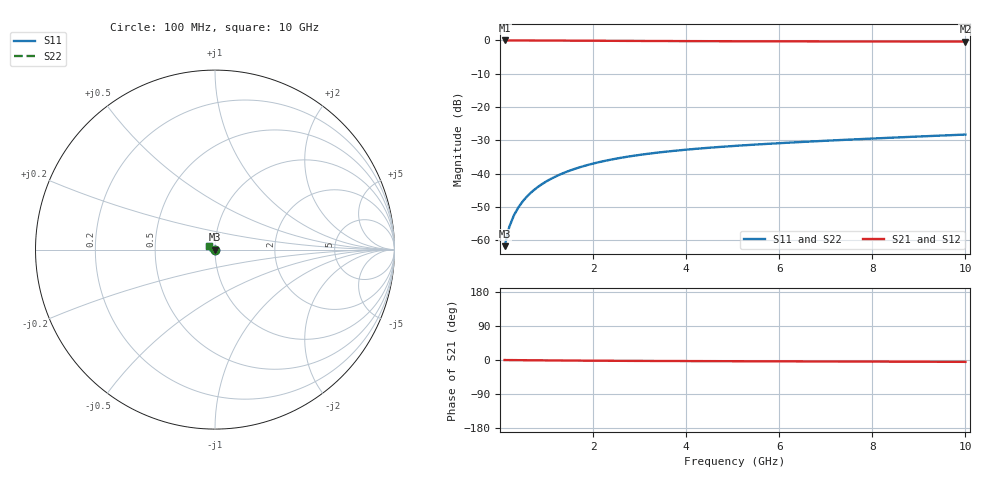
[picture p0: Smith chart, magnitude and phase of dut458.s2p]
! Touchstone file exported from HFSS 2024.1.0
!  File:  C:/UserFiles/LocalFiles/RDL_TSV_Batchsim/temp_TSV1_458_1779697283.aedt
!  Generated:  04:27:11 PM May 25, 2026
!  Design:  TSV1
!  Project:  temp_TSV1_458_1779697283
!  Setup:  Setup1
!  Solution:  Sweep
! Variables:
!  dtsv = 8.01um
!  hbump = 3um
!  htsv = 71.72um
!  lrdl = 252.1521522um
!  p = 40
!  p1 = 56.9um
!  t = 500um
!  trdl = 3um
!  wrdl = 24.89489489um
# GHz S MA R 50.000000
! Terminal data exported
! Port[1] = TSV22_T1
! Port[2] = TSV22_T2
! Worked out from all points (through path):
!   100 points, 100 MHz to 10 GHz, reference 50 ohm
!   highest |S21| = 0.00 dB at 100 MHz (marker M1); lowest = -0.3 dB at 10 GHz (marker M2)
!   lowest |S11| = -61.7 dB at 100 MHz (marker M3), VSWR 1.00, Z = 50 - j0.0801 ohm
!   |S11| at or under -10 dB: start of sweep to end of sweep
!   |S22| runs from -61.7 to -28.2 dB; largest |S21 - S12| = 2.4e-15
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0.1  0.0008206 -77.4  0.9998 -0.1  0.9998 -0.1  0.0008206 -77.4
! Gamma 0 0 0 0
! Port Impedance 50 0 50 0
0.2  0.001599 -87.0  0.9997 -0.2  0.9997 -0.2  0.001599 -87.0
0.3  0.002383 -91.7  0.9995 -0.3  0.9995 -0.3  0.002383 -91.7
0.4  0.003166 -95.3  0.9993 -0.4  0.9993 -0.4  0.003166 -95.3
0.5  0.003944 -98.2  0.999 -0.5  0.999 -0.5  0.003944 -98.2
0.6  0.004716 -101.0  0.9986 -0.6  0.9986 -0.6  0.004716 -101.0
0.7  0.005479 -103.5  0.9982 -0.7  0.9982 -0.7  0.005479 -103.5
0.8  0.006234 -106.0  0.9978 -0.8  0.9978 -0.8  0.006234 -106.0
0.9  0.006977 -108.3  0.9973 -0.9  0.9973 -0.9  0.006977 -108.3
1.1  0.008428 -112.9  0.9961 -1.1  0.9961 -1.1  0.008428 -112.9
1.4  0.0105 -119.3  0.9943 -1.4  0.9943 -1.4  0.0105 -119.3
1.6  0.0118 -123.3  0.9929 -1.5  0.9929 -1.5  0.0118 -123.3
1.8  0.01304 -127.2  0.9915 -1.7  0.9915 -1.7  0.01304 -127.2
2.1  0.01478 -132.8  0.9893 -1.9  0.9893 -1.9  0.01478 -132.8
2.5  0.01688 -139.8  0.9864 -2.1  0.9864 -2.1  0.01688 -139.8
2.9  0.01875 -146.2  0.9837 -2.4  0.9837 -2.4  0.01875 -146.2
3.4  0.02082 -153.6  0.9805 -2.6  0.9805 -2.6  0.02082 -153.6
4.2  0.02364 -163.9  0.9763 -2.9  0.9763 -2.9  0.02364 -163.9
5.1  0.02635 -173.9  0.9725 -3.2  0.9725 -3.2  0.02635 -173.9
6.7  0.03054 171.8  0.9678 -3.8  0.9678 -3.8  0.03054 171.8
8.4  0.03474 159.9  0.9645 -4.3  0.9645 -4.3  0.03474 159.9
10  0.03876 150.9  0.9624 -4.9  0.9624 -4.9  0.03876 150.9
